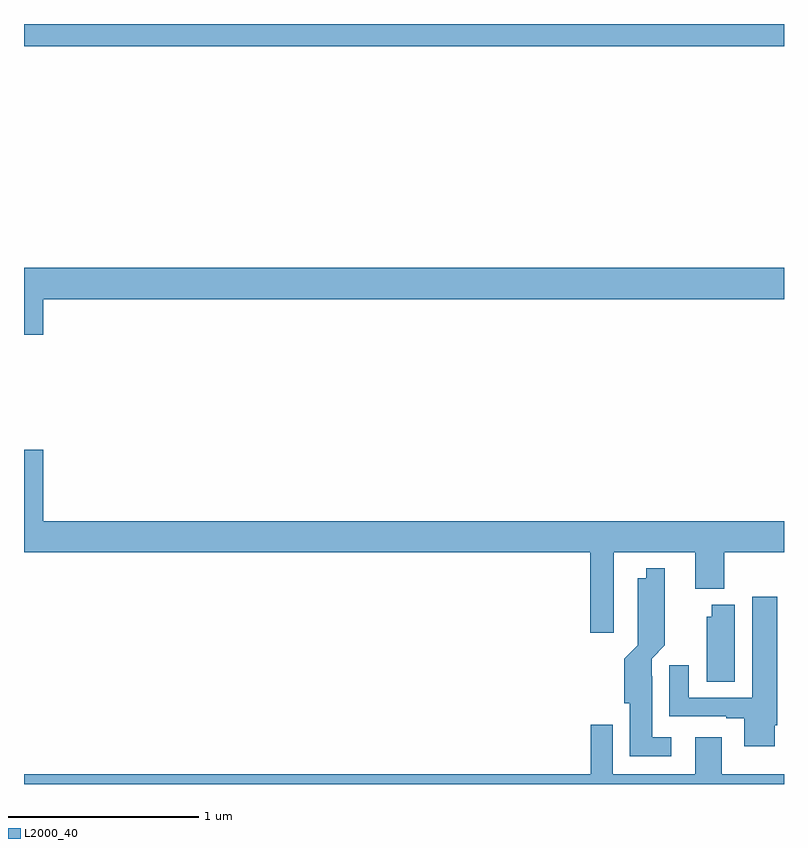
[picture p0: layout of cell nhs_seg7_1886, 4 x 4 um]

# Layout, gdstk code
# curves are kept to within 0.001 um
import gdstk
lib = gdstk.Library(unit=1e-6, precision=1e-09)
def R(c, l, rs):  # rectangles x0, y0, x1, y1
    for r in rs: c.add(gdstk.rectangle(r[:2], r[2:], *l))
def P(c, l, *ps):  # polygons
    for p in ps: c.add(gdstk.Polygon(p, *l))
L2000_40 = (2000, 40)

nhs_seg7_1886 = lib.new_cell('nhs_seg7_1886')
R(nhs_seg7_1886, L2000_40, [(237,1065.884,241,1066)])
P(nhs_seg7_1886, L2000_40, [(237.1,1064.552),(241,1064.552),(241,1064.716),(237,1064.716),(237,1064.364),(237.1,1064.364)],
  [(240.103,1063.22),(240.533,1063.22),(240.533,1063.028),(240.686,1063.028),(240.686,1063.22),(241,1063.22),(241,1063.384),(237.1,1063.384),(237.1,1063.759),(237,1063.759),(237,1063.22),(239.981,1063.22),(239.981,1062.795),(240.103,1062.795)],
  [(240.406,1062.247),(240.307,1062.247),(240.307,1062.566),(240.303,1062.566),(240.303,1062.66),(240.373,1062.73),(240.372,1063.135),(240.275,1063.135),(240.275,1063.084),(240.23,1063.084),(240.23,1062.73),(240.158,1062.658),(240.158,1062.426),(240.188,1062.426),(240.188,1062.146),(240.406,1062.146)],
  [(240.952,1062.31),(240.965,1062.31),(240.965,1062.985),(240.833,1062.985),(240.833,1062.453),(240.499,1062.453),(240.499,1062.625),(240.395,1062.625),(240.395,1062.357),(240.695,1062.357),(240.695,1062.345),(240.791,1062.345),(240.791,1062.198),(240.952,1062.198)],
  [(240.742,1062.943),(240.62,1062.943),(240.62,1062.879),(240.593,1062.879),(240.593,1062.538),(240.742,1062.538)],
  [(241,1062.052),(240.673,1062.052),(240.673,1062.247),(240.533,1062.247),(240.533,1062.052),(240.099,1062.052),(240.099,1062.313),(239.983,1062.313),(239.983,1062.052),(237,1062.052),(237,1062),(241,1062)])

lib.write_gds('nhs_seg7_1886.gds')
